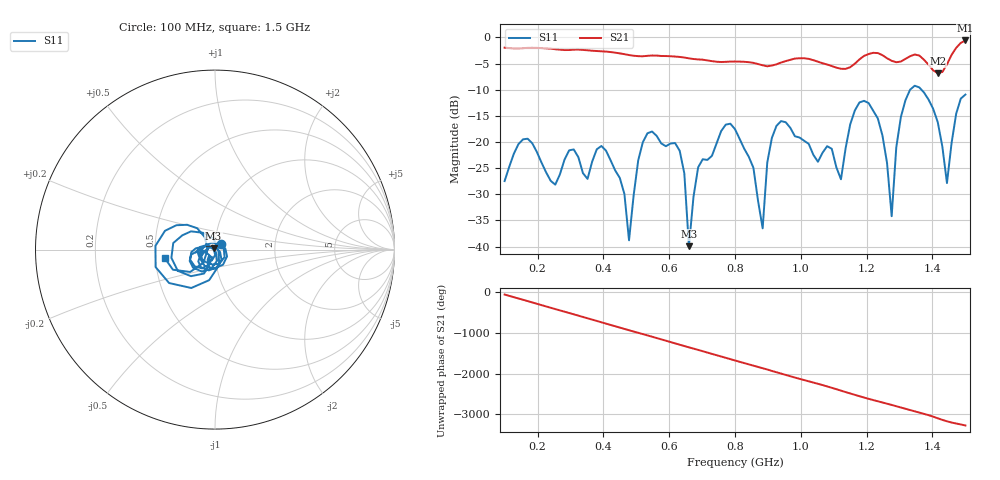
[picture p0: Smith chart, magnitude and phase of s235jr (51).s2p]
! NanoVNA-App
! Date: 2025-09-25 15:04:33
! Start: 100MHz Stop: 1,5GHz Points: 101
! S-Parameter data: F S11 S21 S12 S22
# Hz S RI R 50
!  Frequency  S11_Real  S11_Imag  S21_Real  S21_Imag  S12_Real  S12_Imag  S22_Real  S22_Imag
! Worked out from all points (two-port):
!   101 points, 100 MHz to 1.5 GHz, reference 50 ohm
!   highest |S21| = -0.58 dB at 1.5 GHz (marker M1); lowest = -6.8 dB at 1.416 GHz (marker M2)
!   |S21| within 3 dB of the highest: start of sweep to 505.5 MHz; 524.2 MHz to 596.6 MHz (72.37 MHz wide, 12.9 % of centre) (the widest 2 of 5)
!   lowest |S11| = -39.9 dB at 660 MHz (marker M3), VSWR 1.02, Z = 49.2 + j0.644 ohm
!   |S11| at or under -10 dB: start of sweep to 1.332 GHz; 1.366 GHz to end of sweep
!   S12 and S22 are empty: the file has one direction only
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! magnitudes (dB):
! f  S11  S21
! 100 MHz  -27.5  -2.0
! 170 MHz  -19.4  -2.0
! 338 MHz  -26.0  -2.4
! 408 MHz  -21.7  -2.7
! 478 MHz  -38.8  -3.4
! 520 MHz  -20.1  -3.6
! 576 MHz  -20.3  -3.6
! 632 MHz  -21.7  -3.7
! 660 MHz  -39.9  -4.0
! 688 MHz  -24.9  -4.2
! 800 MHz  -17.6  -4.6
! 884 MHz  -36.5  -5.3
! 926 MHz  -16.9  -5.2
! 1.038 GHz  -22.5  -4.4
! 1.122 GHz  -27.1  -6.0
! 1.206 GHz  -12.6  -3.2
! 1.276 GHz  -34.2  -4.5
! 1.29 GHz  -21.0  -4.8
! 1.332 GHz  -10.0  -3.6
! 1.416 GHz  -16.2  -6.8
! 1.444 GHz  -27.9  -5.2
! 1.5 GHz  -10.9  -0.6
